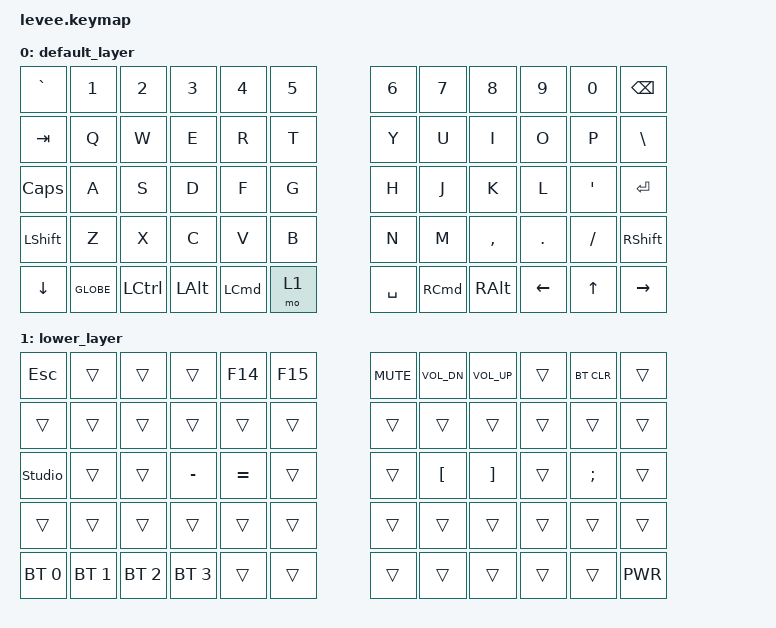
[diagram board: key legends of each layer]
// This file was generated from a template. Edit it to match your keyboard.
// See https://zmk.dev/docs/development/hardware-integration/new-shield for more instructions.

#include <behaviors.dtsi>
#include <dt-bindings/zmk/keys.h>
#include <dt-bindings/zmk/bt.h>
#define default_layer 0
#define lower_layer 1

/ {
    // Define a default keymap here.
    // See https://zmk.dev/docs/development/hardware-integration/new-shield#default-keymap.
    keymap {
        compatible = "zmk,keymap";

        default_layer {
            bindings = <
            //
            //  |   `   |   1   |   2   |   3   |   4   |   5   |         |   6   |   7   |   8   |   9   |   0   | BKSPC |
            //  |  TAB  |   Q   |   W   |   E   |   R   |   T   |         |   Y   |   U   |   I   |   O   |   P   | BKSLH |
            //  | CAPSL |   A   |   S   |   D   |   F   |   G   |         |   H   |   J   |   K   |   L   |   '   |  RET  |
            //  | LSHFT |   Z   |   X   |   C   |   V   |   B   |         |   N   |   M   |   ,   |   .   |   /   | RSHFT |
            //  | DNARW | GLOBE | LCTRL | LTALT | LCOMD |  LOW  |         | SPACE | RCOMD | RTALT | LTARW | UPARW | RTARW |
            //
                &kp GRAVE  &kp N1     &kp N2     &kp N3    &kp N4    &kp N5         &kp N6     &kp N7    &kp N8     &kp N9    &kp N0    &kp BSPC
                &kp TAB    &kp Q      &kp W      &kp E     &kp R     &kp T          &kp Y      &kp U     &kp I      &kp O     &kp P     &kp BSLH
                &kp CAPS   &kp A      &kp S      &kp D     &kp F     &kp G          &kp H      &kp J     &kp K      &kp L     &kp APOS  &kp RET
                &kp LSHFT  &kp Z      &kp X      &kp C     &kp V     &kp B          &kp N      &kp M     &kp COMMA  &kp DOT   &kp FSLH  &kp RSHFT
                &kp DOWN   &kp GLOBE  &kp LCTRL  &kp LALT  &kp LCMD  &mo 1          &kp SPACE  &kp RCMD  &kp RALT   &kp LEFT  &kp UP    &kp RIGHT
            >;
        };
        lower_layer {
            bindings = <
            //
            //  |  ESC  |       |       |       | BRTDN | BRTUP |         |  MUT  | VOLDN | VOLUP |       | BTCLR |       |
            //  |       |       |       |       |       |       |         |       |       |       |       |       |       |
            //  |       |       |       |   -   |   =   |       |         |       |   [   |   ]   |       |   ;   |       |
            //  |       |       |       |       |       |       |         |       |       |       |       |       |       |
            //  |  BT1  |  BT2  |  BT3  |  BT4  |       |       |         |       |       |       |       |       |  PWR  |
            //
                &kp ESC         &trans        &trans        &trans        &kp F14    &kp F15         &kp C_MUTE  &kp C_VOL_DN  &kp C_VOL_UP  &trans  &bt BT_CLR  &trans
                &trans          &trans        &trans        &trans        &trans     &trans          &trans      &trans        &trans        &trans  &trans      &trans
                &studio_unlock  &trans        &trans        &kp MINUS     &kp EQUAL  &trans          &trans      &kp LBKT      &kp RBKT      &trans  &kp SEMI    &trans
                &trans          &trans        &trans        &trans        &trans     &trans          &trans      &trans        &trans        &trans  &trans      &trans
                &bt BT_SEL 0    &bt BT_SEL 1  &bt BT_SEL 2  &bt BT_SEL 3  &trans     &trans          &trans      &trans        &trans        &trans  &trans      &kp K_PWR
            >;
        };
    };
};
